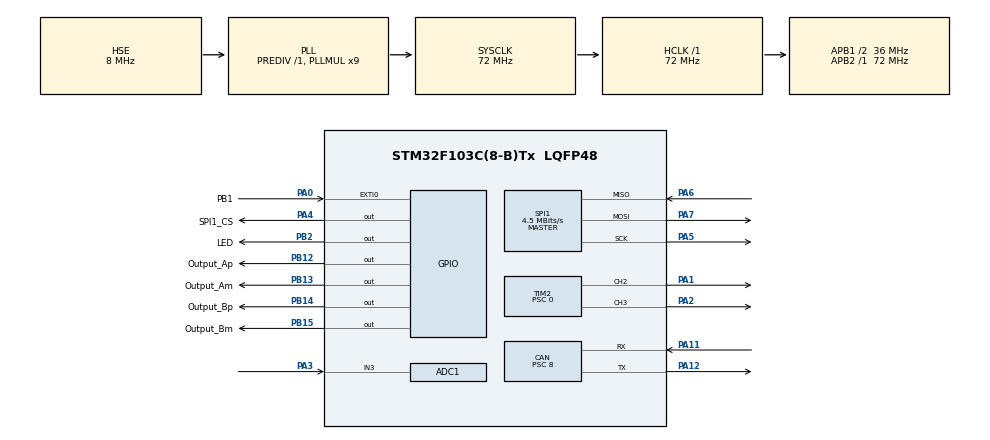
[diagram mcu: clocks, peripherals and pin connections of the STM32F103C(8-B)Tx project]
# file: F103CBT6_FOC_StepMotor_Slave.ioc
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ADC1.Channel-1\#ChannelRegularConversion=ADC_CHANNEL_VREFINT
ADC1.Channel-2\#ChannelRegularConversion=ADC_CHANNEL_TEMPSENSOR
ADC1.Channel-3\#ChannelRegularConversion=ADC_CHANNEL_3
ADC1.ContinuousConvMode=DISABLE
ADC1.DiscontinuousConvMode=DISABLE
ADC1.EnableInjectedConversion=DISABLE
ADC1.NbrOfConversion=3
ADC1.NbrOfConversionFlag=1
ADC1.Rank-1\#ChannelRegularConversion=1
ADC1.Rank-2\#ChannelRegularConversion=2
ADC1.Rank-3\#ChannelRegularConversion=3
ADC1.SamplingTime-1\#ChannelRegularConversion=ADC_SAMPLETIME_239CYCLES_5
ADC1.SamplingTime-2\#ChannelRegularConversion=ADC_SAMPLETIME_239CYCLES_5
ADC1.SamplingTime-3\#ChannelRegularConversion=ADC_SAMPLETIME_239CYCLES_5
ADC1.master=1
CAN.AWUM=ENABLE
CAN.BS1=CAN_BS1_5TQ
CAN.BS2=CAN_BS2_3TQ
CAN.CalculateBaudRate=500000
CAN.CalculateTimeBit=2000
CAN.CalculateTimeQuantum=222.22222222222223
CAN.Prescaler=8
Dma.ADC1.0.Direction=DMA_PERIPH_TO_MEMORY
Dma.ADC1.0.Instance=DMA1_Channel1
Dma.ADC1.0.MemDataAlignment=DMA_MDATAALIGN_HALFWORD
Dma.ADC1.0.MemInc=DMA_MINC_ENABLE
Dma.ADC1.0.Mode=DMA_NORMAL
Dma.ADC1.0.PeriphDataAlignment=DMA_PDATAALIGN_HALFWORD
Dma.ADC1.0.PeriphInc=DMA_PINC_DISABLE
Dma.ADC1.0.Priority=DMA_PRIORITY_LOW
Dma.Request0=ADC1
Mcu.Family=STM32F1
Mcu.Name=STM32F103C(8-B)Tx
Mcu.Package=LQFP48
NVIC.ADC1_2_IRQn=true\:0\:0\:false\:false\:true\:true\:true\:true
NVIC.CAN1_SCE_IRQn=true\:0\:0\:false\:false\:true\:true\:true\:true
NVIC.DMA1_Channel1_IRQn=true\:0\:0\:false\:false\:true\:false\:true\:true
NVIC.PriorityGroup=NVIC_PRIORITYGROUP_4
NVIC.TIM2_IRQn=true\:0\:0\:false\:false\:true\:true\:true\:true
NVIC.TIM3_IRQn=true\:0\:0\:false\:false\:true\:true\:true\:true
NVIC.USB_LP_CAN1_RX0_IRQn=true\:0\:0\:false\:false\:true\:true\:true\:true
PA0-WKUP.GPIO_Label=PB1
PA0-WKUP.GPIO_PuPd=GPIO_PULLDOWN
PA0-WKUP.Signal=GPXTI0
PA1.Signal=S_TIM2_CH2
PA11.Mode=CAN_Activate
PA11.Signal=CAN_RX
PA12.Mode=CAN_Activate
PA12.Signal=CAN_TX
PA13.Mode=Serial_Wire
PA13.Signal=SYS_JTMS-SWDIO
PA14.Mode=Serial_Wire
PA14.Signal=SYS_JTCK-SWCLK
PA2.Signal=S_TIM2_CH3
PA3.Signal=ADCx_IN3
PA4.GPIO_Label=SPI1_CS
PA4.GPIO_Speed=GPIO_SPEED_FREQ_MEDIUM
PA4.PinState=GPIO_PIN_RESET
PA4.Signal=GPIO_Output
PA5.Mode=Full_Duplex_Master
PA5.Signal=SPI1_SCK
PA6.Mode=Full_Duplex_Master
PA6.Signal=SPI1_MISO
PA7.Mode=Full_Duplex_Master
PA7.Signal=SPI1_MOSI
PB12.GPIO_Label=Output_Ap
PB12.Signal=GPIO_Output
PB13.GPIO_Label=Output_Am
PB13.Signal=GPIO_Output
PB14.GPIO_Label=Output_Bp
PB14.Signal=GPIO_Output
PB15.GPIO_Label=Output_Bm
PB15.GPIO_Speed=GPIO_SPEED_FREQ_LOW
PB15.Signal=GPIO_Output
PB2.GPIO_Label=LED
PB2.Signal=GPIO_Output
PD0-OSC_IN.Mode=HSE-External-Oscillator
PD0-OSC_IN.Signal=RCC_OSC_IN
PD1-OSC_OUT.Mode=HSE-External-Oscillator
PD1-OSC_OUT.Signal=RCC_OSC_OUT
ProjectManager.HeapSize=0x200
ProjectManager.StackSize=0x400
ProjectManager.TargetToolchain=STM32CubeIDE
RCC.ADCPresc=RCC_ADCPCLK2_DIV6
RCC.AHBFreq_Value=72000000
RCC.APB1CLKDivider=RCC_HCLK_DIV2
RCC.APB1Freq_Value=36000000
RCC.APB1TimFreq_Value=72000000
RCC.APB2Freq_Value=72000000
RCC.APB2TimFreq_Value=72000000
RCC.HCLKFreq_Value=72000000
RCC.PLLMUL=RCC_PLL_MUL9
RCC.PLLSourceVirtual=RCC_PLLSOURCE_HSE
RCC.SYSCLKFreq_VALUE=72000000
RCC.SYSCLKSource=RCC_SYSCLKSOURCE_PLLCLK
RCC.USBFreq_Value=48000000
RCC.USBPrescaler=RCC_USBCLKSOURCE_PLL_DIV1_5
SH.ADCx_IN3.0=ADC1_IN3,IN3
SH.S_TIM2_CH2.0=TIM2_CH2,PWM Generation2 CH2
SH.S_TIM2_CH3.0=TIM2_CH3,PWM Generation3 CH3
SPI1.BaudRatePrescaler=SPI_BAUDRATEPRESCALER_16
SPI1.CLKPhase=SPI_PHASE_2EDGE
SPI1.CLKPolarity=SPI_POLARITY_HIGH
SPI1.CalculateBaudRate=4.5 MBits/s
SPI1.DataSize=SPI_DATASIZE_16BIT
SPI1.Direction=SPI_DIRECTION_2LINES
SPI1.Mode=SPI_MODE_MASTER
SPI1.VirtualType=VM_MASTER
TIM2.AutoReloadPreload=TIM_AUTORELOAD_PRELOAD_ENABLE
TIM2.Channel-PWM\ Generation2\ CH2=TIM_CHANNEL_2
TIM2.Channel-PWM\ Generation3\ CH3=TIM_CHANNEL_3
TIM2.CounterMode=TIM_COUNTERMODE_CENTERALIGNED1
TIM2.Period=4094
TIM2.Prescaler=0
TIM3.AutoReloadPreload=TIM_AUTORELOAD_PRELOAD_ENABLE
TIM3.Channel-PWM\ Generation1\ CH1=TIM_CHANNEL_1
TIM3.Period=359
TIM3.Prescaler=9
VP_ADC1_TempSens_Input.Mode=IN-TempSens
VP_ADC1_Vref_Input.Mode=IN-Vrefint
VP_TIM2_VS_ClockSourceINT.Mode=Internal
VP_TIM3_VS_ClockSourceINT.Mode=Internal
board=custom

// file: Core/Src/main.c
/* USER CODE BEGIN Header */
/**
  ******************************************************************************
  * @file           : main.c
  * @brief          : Main program body
  ******************************************************************************
  * @attention
  *
  * Copyright (c) 2026 STMicroelectronics.
  * All rights reserved.
  *
  * This software is licensed under terms that can be found in the LICENSE file
  * in the root directory of this software component.
  * If no LICENSE file comes with this software, it is provided AS-IS.
  *
  ******************************************************************************
  */
/* USER CODE END Header */
#include "main.h"
#include "adc.h"
#include "can.h"
#include "dma.h"
#include "spi.h"
#include "tim.h"
#include "gpio.h"

/* USER CODE BEGIN Includes */
#include <stdbool.h>
#include <stdlib.h>
#include <math.h>
#include "Driver_tb67h450.h"
#include "Encoder_mt6701.h"
#include "encoder_calib.h"
#include "board_config.h"
/* USER CODE END Includes */

/* USER CODE BEGIN PD */
#define MOTOR_ONE_CIRCLE_SUBDIVIDE_STEPS  51200   /* 100 steps x 256 micro-steps (must match CALIB_SUBDIVIDE_STEPS) */
#define CONTROL_FREQUENCY                 20000   /* Hz – must match TIM5 reload period */
#define SOFT_DIVIDE_NUM                   256     /* quarter-circle offset for 90-deg FOC lead */
/* USER CODE END PD */

/* USER CODE BEGIN PV */
/* Encoder raw reading */
volatile uint16_t angleData = 0;

/* Position tracking */
volatile int32_t realLapPosition = 0, realLapPositionLast = 0;
volatile int32_t realPosition    = 0, realPositionLast    = 0;

/* Velocity estimation (integer IIR) */
volatile int32_t estVelocityIntegral = 0, estVelocity = 0;

/* Lead-angle compensation -> estimated rotor position */
volatile int32_t estLeadPosition = 0, estPosition = 0;

/* Control set-points */
volatile int32_t goalVelocity = 0;   /* desired velocity [subdivisions/s], set from main loop */
volatile int32_t softVelocity = 0;   /* ramped velocity fed to PID */

/* FOC output */
volatile int32_t focCurrent = 0, focPosition = 0;

/* Motion-planner state (velocity ramp) */
volatile int32_t velocityIntegral = 0, trackVelocity = 0, goVelocity = 0;
volatile int32_t velocityAcc      = 0;   /* acceleration step [subdivisions/s per tick] */
volatile int32_t ratedVelocity    = 0;   /* maximum velocity  [subdivisions/s]           */
uint16_t angleData_Calibrated = 0;

/* Driver debug symbols – declared extern in Driver_tb67h450.c */
int16_t SinMapValues_PhaseA_debug1 = 0, SinMapValues_PhaseB_debug1 = 0;
int16_t SinMapValues_PhaseA_debug2 = 0, SinMapValues_PhaseB_debug2 = 0;

/* PID controller state (velocity loop) */
volatile PID_t pid;

/* DCE controller state (position loop) – typedef in main.h */
volatile DCE_t dce;

volatile Mode_t requestMode  = MODE_COMMAND_VELOCITY;   /* set from main loop  */
volatile Mode_t runningMode  = MODE_COMMAND_VELOCITY;   /* currently active    */
volatile State_t StepperState = STATE_STOP;
volatile bool   softNewCurve = false;                   /* seed tracker on mode change */

/* Position set-points */
volatile int32_t goalPosition = 0;   /* desired position [subdivisions], set from main loop */
volatile int32_t softPosition = 0;   /* ramped position fed to DCE                          */

/* Current set-points (MODE_COMMAND_CURRENT) */
volatile int32_t goalCurrent = 0;    /* desired current [mA], set from main loop            */
volatile int32_t softCurrent = 0;    /* ramped current fed to FOC                           */

/* Current motion-planner state (current ramp) */
volatile int32_t currentIntegral = 0, trackCurrent = 0, goCurrent = 0;
volatile int32_t currentAcc      = 0;   /* current ramp step [mA/s]                          */
volatile int32_t ratedCurrentAcc = 1 * 1000;     /* (mA/s) */
volatile int32_t ratedCurrent    = 1 * 1000;     /* (mA)   */

/* Home reference */
volatile int32_t encoderHomeOffset = 0;   /* zero-position offset [subdivisions]             */

/* Position motion-planner state (trapezoidal position tracker) */
volatile int32_t posVelocityUpAcc      = 0, posVelocityDownAcc = 0;
volatile int32_t posSpeedLockingBrake  = 0;
float            posQuickVelocityDownAcc = 0.0f;
volatile int32_t posVelocityIntegral   = 0, posTrackVelocity = 0;
volatile int32_t posPositionIntegral   = 0, posTrackPosition = 0;
volatile int32_t posGoLocation         = 0, posGoVelocity    = 0;

uint16_t ADC_VAL[3];
float Vdda_mV = 0.0f, MCU_Temperature = 0.0f, NTC_Temperature = 0.0f;
volatile bool ADC_ConvertReady = false;

/* USER CODE END PV */

void SystemClock_Config(void);

/* USER CODE BEGIN 0 */

int32_t GetPosition ()
{
	return (realPosition - encoderHomeOffset);
}

int32_t GetVelocity ()
{
	return estVelocity;
}

int32_t GetFocCurrent ()
{
	return focCurrent;
}

/*
 * VelocityTracker_CalcVelocityIntegral
 * Integrates _velocity into trackVelocity using a sub-step accumulator so
 * fractional increments are preserved at 20 kHz.
 */
static void VelocityTracker_CalcVelocityIntegral(int32_t _velocity)
{
    velocityIntegral += _velocity;
    trackVelocity    += velocityIntegral / CONTROL_FREQUENCY;
    velocityIntegral  = velocityIntegral % CONTROL_FREQUENCY;
}

/*
 * VelocityTracker_CalcSoftGoal  (velocity ramp generator – MODE_COMMAND_VELOCITY)
 * Smoothly accelerates / decelerates trackVelocity toward _goalVelocity
 * using the configured velocityAcc step.
 */
static void VelocityTracker_CalcSoftGoal(int32_t _goalVelocity)
{
    int32_t deltaVelocity = _goalVelocity - trackVelocity;

    if (deltaVelocity == 0)
    {
        trackVelocity = _goalVelocity;
    }
    else if (deltaVelocity > 0)
    {
        if (trackVelocity >= 0)
        {
            VelocityTracker_CalcVelocityIntegral(velocityAcc);
            if (trackVelocity >= _goalVelocity)
            {
                velocityIntegral = 0;
                trackVelocity    = _goalVelocity;
            }
        }
        else
        {
            VelocityTracker_CalcVelocityIntegral(velocityAcc);
            if (trackVelocity >= 0)
            {
                velocityIntegral = 0;
                trackVelocity    = 0;
            }
        }
    }
    else   /* deltaVelocity < 0 */
    {
        if (trackVelocity <= 0)
        {
            VelocityTracker_CalcVelocityIntegral(-velocityAcc);
            if (trackVelocity <= _goalVelocity)
            {
                velocityIntegral = 0;
                trackVelocity    = _goalVelocity;
            }
        }
        else
        {
            VelocityTracker_CalcVelocityIntegral(-velocityAcc);
            if (trackVelocity <= 0)
            {
                velocityIntegral = 0;
                trackVelocity    = 0;
            }
        }
    }

    goVelocity = trackVelocity;
}

/*
 * CompensateAdvancedAngle
 * Returns an advance offset in subdivisions to compensate rotor phase lag
 * at speed. Coefficients from the DPS-encoder reference design; re-measure
 * when changing sensor type.
 */
static int32_t CompensateAdvancedAngle(int32_t _vel)
{
    int32_t compensate;

    if (_vel < 0)
    {
        if      (_vel > -100000)  compensate = 0;
        else if (_vel > -1300000) compensate = (((_vel + 100000)  * 262) >> 20);
        else if (_vel > -2200000) compensate = (((_vel + 1300000) * 105) >> 20) - 300;
        else                      compensate = (((_vel + 2200000) *  52) >> 20) - 390;

        if (compensate < -430) compensate = -430;
    }
    else
    {
        if      (_vel < 100000)  compensate = 0;
        else if (_vel < 1300000) compensate = (((_vel - 100000)  * 262) >> 20);
        else if (_vel < 2200000) compensate = (((_vel - 1300000) * 105) >> 20) + 300;
        else                     compensate = (((_vel - 2200000) *  52) >> 20) + 390;

        if (compensate > 430) compensate = 430;
    }

    return compensate;
}

/*
 * CalcCurrentToOutput
 * Maps the desired current magnitude to a FOC vector 90 deg ahead (positive
 * current) or behind (negative current) the estimated rotor position, then
 * drives the TB67H450 via SetFocCurrentVector.
 */
static void CalcCurrentToOutput(int32_t current)
{
    focCurrent = current;

    if      (focCurrent > 0) focPosition = estPosition + SOFT_DIVIDE_NUM;  /* lead  90 deg */
    else if (focCurrent < 0) focPosition = estPosition - SOFT_DIVIDE_NUM;  /* lag   90 deg */
    else                     focPosition = estPosition;

    SetFocCurrentVector((uint32_t)focPosition, focCurrent);
}

/*
 * Current-tracker sub-step accumulator (preserves fractional increments at 20 kHz).
 */
static void CurrentTracker_CalcCurrentIntegral(int32_t _current)
{
    currentIntegral += _current;
    trackCurrent    += currentIntegral / CONTROL_FREQUENCY;
    currentIntegral  = currentIntegral % CONTROL_FREQUENCY;
}

/*
 * CurrentTracker_SetCurrentAcc
 * Sets the current ramp step [mA/s] used by the MODE_COMMAND_CURRENT planner.
 * Only use in Init phase
 */
static void CurrentTracker_SetCurrentAcc(int32_t _currentAcc)
{
    currentAcc = _currentAcc;
}

/*
 * CurrentTracker_NewTask
 * Seeds the tracker from the present FOC current so the ramp starts smoothly
 * (called when entering current mode).
 */
static void CurrentTracker_NewTask(int32_t _realCurrent)
{
    currentIntegral = 0;
    trackCurrent    = _realCurrent;
}

/*
 * CurrentTracker_CalcSoftGoal  (current ramp generator – MODE_COMMAND_CURRENT)
 * Smoothly ramps trackCurrent toward _goalCurrent using currentAcc.
 * Direct port of the Ctrl-Step-Driver CurrentTracker::CalcSoftGoal().
 */
static void CurrentTracker_CalcSoftGoal(int32_t _goalCurrent)
{
    int32_t deltaCurrent = _goalCurrent - trackCurrent;

    if (deltaCurrent == 0)
    {
        trackCurrent = _goalCurrent;
    }
    else if (deltaCurrent > 0)
    {
        if (trackCurrent >= 0)
        {
            CurrentTracker_CalcCurrentIntegral(currentAcc);
            if (trackCurrent >= _goalCurrent)
            {
                currentIntegral = 0;
                trackCurrent    = _goalCurrent;
            }
        }
        else
        {
            CurrentTracker_CalcCurrentIntegral(currentAcc);
            if (trackCurrent >= 0)
            {
                currentIntegral = 0;
                trackCurrent    = 0;
            }
        }
    }
    else   /* deltaCurrent < 0 */
    {
        if (trackCurrent <= 0)
        {
            CurrentTracker_CalcCurrentIntegral(-currentAcc);
            if (trackCurrent <= _goalCurrent)
            {
                currentIntegral = 0;
                trackCurrent    = _goalCurrent;
            }
        }
        else
        {
            CurrentTracker_CalcCurrentIntegral(-currentAcc);
            if (trackCurrent <= 0)
            {
                currentIntegral = 0;
                trackCurrent    = 0;
            }
        }
    }

    goCurrent = trackCurrent;
}

/*
 * SetCurrentSetPoint
 * Sets the target current [mA] for MODE_COMMAND_CURRENT, clamped to the rated
 * current. Mirrors the Ctrl-Step-Driver Controller::SetCurrentSetPoint().
 */
void SetCurrentSetPoint(int32_t _cur)
{
    if      (_cur >  ratedCurrent) goalCurrent =  ratedCurrent;
    else if (_cur < -ratedCurrent) goalCurrent = -ratedCurrent;
    else                               goalCurrent = _cur;
}

/*
 * SetVelocitySetPoint
 * Sets the target velocity [subdivisions/s] for MODE_COMMAND_VELOCITY, clamped
 * to the working ratedVelocity. Mirrors Controller::SetVelocitySetPoint().
 */
void SetVelocitySetPoint(int32_t _vel)
{
    if      (_vel >  ratedVelocity) goalVelocity =  ratedVelocity;
    else if (_vel < -ratedVelocity) goalVelocity = -ratedVelocity;
    else                            goalVelocity = _vel;
}

/*
 * SetPositionSetPoint
 * Sets the target position [subdivisions] for MODE_COMMAND_POSITION, referenced
 * to the encoder home offset. Mirrors Controller::SetPositionSetPoint().
 */
void SetPositionSetPoint(int32_t _pos)
{
    goalPosition = _pos + encoderHomeOffset;
}

/*
 * SetPositionSetPointWithTime
 * Sets a target position to be reached in approximately _time seconds by
 * computing the cruise velocity of a trapezoidal profile with the configured
 * acceleration (velocityAcc). If the move cannot complete within _time at the
 * velocity limit, it clamps to boardConfig.velocityLimit and returns false; otherwise it
 * derives the required cruise velocity and returns true.
 * Direct port of Controller::SetPositionSetPointWithTime().
 */
bool SetPositionSetPointWithTime(int32_t _pos, float _time)
{
    int32_t deltaPos = abs(_pos - realPosition + encoderHomeOffset);

    /* Max distance reachable within _time under a full accel/decel triangle. */
    float pMax = (float)velocityAcc * _time * _time / 4.0f;

    if ((float)deltaPos > pMax)
    {
        /* Not reachable in time: run at the velocity limit. */
        ratedVelocity = boardConfig.velocityLimit;
        SetPositionSetPoint(_pos);
        return false;
    }
    else
    {
        /* Solve trapezoidal profile for the cruise velocity that hits the
         * target in exactly _time seconds. */
        float vMax = _time * (float)velocityAcc;
        vMax -= (float)velocityAcc *
                sqrtf(_time * _time - 4.0f * (float)deltaPos / (float)velocityAcc);
        vMax /= 2.0f;

        ratedVelocity = (int32_t)vMax;
        SetPositionSetPoint(_pos);
        return true;
    }
}

/*
 * CalcPidToOutput  (velocity PID – MODE_PWM_VELOCITY)
 * Computes PID output from the error between softVelocity and estVelocity,
 * then calls CalcCurrentToOutput to drive the FOC vector.
 */
static void CalcPidToOutput(int32_t _speed)
{
    pid.vErrorLast = pid.vError;
    pid.vError     = _speed - estVelocity;
    if (pid.vError >  (1024 * 1024)) pid.vError =  (1024 * 1024);
    if (pid.vError < -(1024 * 1024)) pid.vError = -(1024 * 1024);

    pid.outputKp = pid.kp * pid.vError;

    pid.integralRound    += pid.ki * pid.vError;
    pid.integralRemainder = pid.integralRound >> 10;
    pid.integralRound    -= (pid.integralRemainder << 10);
    pid.outputKi         += pid.integralRemainder;
    if (pid.outputKi >  (ratedCurrent << 10)) pid.outputKi =  (ratedCurrent << 10);
    if (pid.outputKi < -(ratedCurrent << 10)) pid.outputKi = -(ratedCurrent << 10);

    pid.outputKd = pid.kd * (pid.vError - pid.vErrorLast);

    pid.output = (pid.outputKp + pid.outputKi + pid.outputKd) >> 10;
    if (pid.output >  ratedCurrent) pid.output =  ratedCurrent;
    if (pid.output < -ratedCurrent) pid.output = -ratedCurrent;

    CalcCurrentToOutput(pid.output);
}

/*
 * CalcDceToOutput  (position DCE controller – MODE_COMMAND_POSITION)
 * Dynamic Compensation Equation: combines a position error term (kp/ki) with
 * a velocity error term (kv/kd) to produce the FOC current command. Mirrors
 * the Ctrl-Step-Driver reference CalcDceToOutput().
 */
static void CalcDceToOutput(int32_t _location, int32_t _speed)
{
    dce.pError = _location - estPosition;
    if (dce.pError >  3200) dce.pError =  3200;   /* limit pError to 1/16 rev (51200/16) */
    if (dce.pError < -3200) dce.pError = -3200;

    dce.vError = (_speed - estVelocity) >> 7;
    if (dce.vError >  4000) dce.vError =  4000;
    if (dce.vError < -4000) dce.vError = -4000;

    dce.outputKp = dce.kp * dce.pError;

    dce.integralRound    += (dce.ki * dce.pError + dce.kv * dce.vError);
    dce.integralRemainder = dce.integralRound >> 7;
    dce.integralRound    -= (dce.integralRemainder << 7);
    dce.outputKi         += dce.integralRemainder;
    if (dce.outputKi >  (ratedCurrent << 10)) dce.outputKi =  (ratedCurrent << 10);
    if (dce.outputKi < -(ratedCurrent << 10)) dce.outputKi = -(ratedCurrent << 10);

    dce.outputKd = dce.kd * dce.vError;

    dce.output = (dce.outputKp + dce.outputKi + dce.outputKd) >> 10;
    if (dce.output >  ratedCurrent) dce.output =  ratedCurrent;
    if (dce.output < -ratedCurrent) dce.output = -ratedCurrent;

    CalcCurrentToOutput(dce.output);
}

/*
 * Position-tracker sub-step accumulators (preserve fractional increments at 20 kHz).
 */
static void PosTracker_CalcPositionIntegral(int32_t _value)
{
    posPositionIntegral += _value;
    posTrackPosition    += posPositionIntegral / CONTROL_FREQUENCY;
    posPositionIntegral  = posPositionIntegral % CONTROL_FREQUENCY;
}

static void PosTracker_CalcVelocityIntegral(int32_t _value)
{
    posVelocityIntegral += _value;
    posTrackVelocity    += posVelocityIntegral / CONTROL_FREQUENCY;
    posVelocityIntegral  = posVelocityIntegral % CONTROL_FREQUENCY;
}

/*
 * PosTracker_SetVelocityAcc
 * Sets the trapezoidal accel/decel step and the pre-computed factor used to
 * estimate the braking distance ( v^2 * 0.5/decel ).
 */
static void PosTracker_SetVelocityAcc(int32_t _value)
{
    posVelocityUpAcc        = _value;
    posVelocityDownAcc      = _value;
    posQuickVelocityDownAcc = 0.5f / (float)posVelocityDownAcc;
}

/*
 * PosTracker_NewTask
 * Seeds the tracker from the current estimated position/velocity so the
 * trajectory starts smoothly (called when entering position mode).
 */
static void PosTracker_NewTask(int32_t _realLocation, int32_t _realSpeed)
{
    posVelocityIntegral = 0;
    posTrackVelocity    = _realSpeed;
    posPositionIntegral = 0;
    posTrackPosition    = _realLocation;
}

/*
 * PosTracker_CalcSoftGoal  (trapezoidal position planner – MODE_COMMAND_POSITION)
 * Generates a smooth position/velocity profile toward _goalPosition, ramping
 * velocity up to ratedVelocity and braking in time to stop on target.
 * Direct port of the Ctrl-Step-Driver PositionTracker::CalcSoftGoal().
 */
static void PosTracker_CalcSoftGoal(int32_t _goalPosition)
{
    int32_t deltaPosition = _goalPosition - posTrackPosition;

    if (deltaPosition == 0)
    {
        if ((posTrackVelocity >= -posSpeedLockingBrake) &&
            (posTrackVelocity <=  posSpeedLockingBrake))
        {
            posVelocityIntegral = 0;
            posTrackVelocity    = 0;
            posPositionIntegral = 0;
        }
        else if (posTrackVelocity > 0)
        {
            PosTracker_CalcVelocityIntegral(-posVelocityDownAcc);
            if (posTrackVelocity <= 0)
            {
                posVelocityIntegral = 0;
                posTrackVelocity    = 0;
            }
        }
        else if (posTrackVelocity < 0)
        {
            PosTracker_CalcVelocityIntegral(posVelocityDownAcc);
            if (posTrackVelocity >= 0)
            {
                posVelocityIntegral = 0;
                posTrackVelocity    = 0;
            }
        }
    }
    else
    {
        if (posTrackVelocity == 0)
        {
            if (deltaPosition > 0)
                PosTracker_CalcVelocityIntegral(posVelocityUpAcc);
            else
                PosTracker_CalcVelocityIntegral(-posVelocityUpAcc);
        }
        else if ((deltaPosition > 0) && (posTrackVelocity > 0))
        {
            if (posTrackVelocity <= ratedVelocity)
            {
                int32_t need_down_location = (int32_t)((float)posTrackVelocity *
                                                       (float)posTrackVelocity *
                                                       posQuickVelocityDownAcc);
                if (abs(deltaPosition) > need_down_location)
                {
                    if (posTrackVelocity < ratedVelocity)
                    {
                        PosTracker_CalcVelocityIntegral(posVelocityUpAcc);
                        if (posTrackVelocity >= ratedVelocity)
                        {
                            posVelocityIntegral = 0;
                            posTrackVelocity    = ratedVelocity;
                        }
                    }
                    else if (posTrackVelocity > ratedVelocity)
                    {
                        PosTracker_CalcVelocityIntegral(-posVelocityDownAcc);
                    }
                }
                else
                {
                    PosTracker_CalcVelocityIntegral(-posVelocityDownAcc);
                    if (posTrackVelocity <= 0)
                    {
                        posVelocityIntegral = 0;
                        posTrackVelocity    = 0;
                    }
                }
            }
            else
            {
                PosTracker_CalcVelocityIntegral(-posVelocityDownAcc);
                if (posTrackVelocity <= 0)
                {
                    posVelocityIntegral = 0;
                    posTrackVelocity    = 0;
                }
            }
        }
        else if ((deltaPosition < 0) && (posTrackVelocity < 0))
        {
            if (posTrackVelocity >= -ratedVelocity)
            {
                int32_t need_down_location = (int32_t)((float)posTrackVelocity *
                                                       (float)posTrackVelocity *
                                                       posQuickVelocityDownAcc);
                if (abs(deltaPosition) > need_down_location)
                {
                    if (posTrackVelocity > -ratedVelocity)
                    {
                        PosTracker_CalcVelocityIntegral(-posVelocityUpAcc);
                        if (posTrackVelocity <= -ratedVelocity)
                        {
                            posVelocityIntegral = 0;
                            posTrackVelocity    = -ratedVelocity;
                        }
                    }
                    else if (posTrackVelocity < -ratedVelocity)
                    {
                        PosTracker_CalcVelocityIntegral(posVelocityDownAcc);
                    }
                }
                else
                {
                    PosTracker_CalcVelocityIntegral(posVelocityDownAcc);
                    if (posTrackVelocity >= 0)
                    {
                        posVelocityIntegral = 0;
                        posTrackVelocity    = 0;
                    }
                }
            }
            else
            {
                PosTracker_CalcVelocityIntegral(posVelocityDownAcc);
                if (posTrackVelocity >= 0)
                {
                    posVelocityIntegral = 0;
                    posTrackVelocity    = 0;
                }
            }
        }
        else if ((deltaPosition < 0) && (posTrackVelocity > 0))
        {
            PosTracker_CalcVelocityIntegral(-posVelocityDownAcc);
            if (posTrackVelocity <= 0)
            {
                posVelocityIntegral = 0;
                posTrackVelocity    = 0;
            }
        }
        else if ((deltaPosition > 0) && (posTrackVelocity < 0))
        {
            PosTracker_CalcVelocityIntegral(posVelocityDownAcc);
            if (posTrackVelocity >= 0)
            {
                posVelocityIntegral = 0;
                posTrackVelocity    = 0;
            }
        }
    }

    PosTracker_CalcPositionIntegral(posTrackVelocity);

    posGoLocation = posTrackPosition;
    posGoVelocity = posTrackVelocity;
}

/*
 * HAL callback: 20 kHz timer interrupt – main FOC control tick.
 * Implements the MODE_PWM_VELOCITY path from the Ctrl-Step-Driver reference:
 *   1. Read encoder
 *   2. First-call position seed
 *   3. Wrap-around lap position update
 *   4. Multi-turn (naive) position accumulation
 *   5. Integer IIR velocity estimation
 *   6. Lead-angle compensation -> estimated position
 *   7. Velocity PID -> FOC current vector
 *   8. Soft-goal (trapezoidal ramp) update for next tick
 */
void HAL_TIM_PeriodElapsedCallback(TIM_HandleTypeDef *htim)
{
    if (htim->Instance == TIM3)
    {
        /* Encoder calibration takes over the control loop when active */
        if (Calib_IsRunning())
        {
            Calib_Tick20kHz();
            return;
        }

//    	SetFocCurrentVector(a, b);

        /* 1. Read encoder */
        angleData = GetAngle();
        angleData_Calibrated = Calib_GetCalibratedAngleLUT(angleData); /* rectified position via calib table */

        /* 2. First-call initialisation – seed position tracking */
        static bool isFirstCalled = true;
        if (isFirstCalled)
        {
            isFirstCalled       = false;
            realLapPosition     = (int32_t)angleData_Calibrated;
            realLapPositionLast = (int32_t)angleData_Calibrated;
            realPosition        = (int32_t)angleData_Calibrated;
            realPositionLast    = (int32_t)angleData_Calibrated;
            return;
        }

        /* 3. Update lap position with wrap-around handling */
        realLapPositionLast = realLapPosition;
        realLapPosition     = (int32_t)angleData_Calibrated;

        int32_t deltaLapPosition = realLapPosition - realLapPositionLast;
        if (deltaLapPosition >  (MOTOR_ONE_CIRCLE_SUBDIVIDE_STEPS >> 1))
            deltaLapPosition -= MOTOR_ONE_CIRCLE_SUBDIVIDE_STEPS;
        else if (deltaLapPosition < -(MOTOR_ONE_CIRCLE_SUBDIVIDE_STEPS >> 1))
            deltaLapPosition += MOTOR_ONE_CIRCLE_SUBDIVIDE_STEPS;

        /* 4. Accumulate multi-turn (naive) position */
        realPositionLast = realPosition;
        realPosition    += deltaLapPosition;

        /*
         * 5. Estimate velocity – integer IIR low-pass filter
         *    accumulator += deltaPos * Fs  +  estVelocity * 31
         *    estVelocity  = accumulator >> 5  (divide by 32)
         *    Remainder kept in accumulator to preserve sub-unit precision.
         */
        estVelocityIntegral += (realPosition - realPositionLast) * CONTROL_FREQUENCY
                               + ((estVelocity << 5) - estVelocity);
        estVelocity          = estVelocityIntegral >> 5;
        estVelocityIntegral -= (estVelocity << 5);

        /* 6. Lead-angle compensation -> estimated rotor position */
        estLeadPosition = CompensateAdvancedAngle(estVelocity);
        estPosition     = realPosition + estLeadPosition;

        /* 7. Run the active mode's controller -> FOC current vector */
        switch (runningMode)
        {
            case MODE_COMMAND_VELOCITY:
                CalcPidToOutput(softVelocity);
                break;
            case MODE_COMMAND_POSITION:
                CalcDceToOutput(softPosition, softVelocity);
                break;
            case MODE_COMMAND_CURRENT:
                CalcCurrentToOutput(softCurrent);
                break;
            default:
                break;
        }

        /* 8. Mode-change handling: seed the tracker on the first tick of a new mode */
        if (runningMode != requestMode)
        {
            runningMode  = requestMode;
            softNewCurve = true;
        }
        if (softNewCurve)
        {
            softNewCurve = false;
            switch (runningMode)
            {
                case MODE_COMMAND_VELOCITY:
                    velocityIntegral = 0;
                    trackVelocity    = estVelocity;
                    break;
                case MODE_COMMAND_POSITION:
                    PosTracker_NewTask(estPosition, estVelocity);
                    break;
                case MODE_COMMAND_CURRENT:
                    CurrentTracker_NewTask(focCurrent);
                    break;
                default:
                    break;
            }
        }

        /* 9. Advance the soft goal (trajectory generator) for the next tick */
        switch (runningMode)
        {
            case MODE_COMMAND_VELOCITY:
            {
                int32_t clampedVel = goalVelocity;
                if (clampedVel >  ratedVelocity) clampedVel =  ratedVelocity; // Remove clamping later, claper alreary clamp in SetVelocitySetPoint
                if (clampedVel < -ratedVelocity) clampedVel = -ratedVelocity;
                VelocityTracker_CalcSoftGoal(clampedVel);
                softVelocity = goVelocity;
                break;
            }
            case MODE_COMMAND_POSITION:
                PosTracker_CalcSoftGoal(goalPosition);
                softPosition = posGoLocation;
                softVelocity = posGoVelocity;
                break;
            case MODE_COMMAND_CURRENT:
            {
                int32_t clampedCur = goalCurrent;
                if (clampedCur >  ratedCurrent) clampedCur =  ratedCurrent; // Remove clamping later, claper alreary clamp in SetCurrentSetPoint
                if (clampedCur < -ratedCurrent) clampedCur = -ratedCurrent;
                CurrentTracker_CalcSoftGoal(clampedCur);
                softCurrent = goCurrent;
                break;
            }
            default:
                break;
        }

        /******************************** Update State ********************************/
        if (runningMode == MODE_COMMAND_POSITION)
		{
			if ((softPosition == goalPosition)
				&& (softVelocity == 0))
				StepperState = STATE_FINISH;
			else
				StepperState = STATE_RUNNING;
		} else if (runningMode == MODE_COMMAND_VELOCITY)
		{
			if (softVelocity == goalVelocity)
				StepperState = STATE_FINISH;
			else
				StepperState = STATE_RUNNING;
		} else if (runningMode == MODE_COMMAND_CURRENT)
		{
			if (softCurrent == goalCurrent)
				StepperState = STATE_FINISH;
			else
				StepperState = STATE_RUNNING;
		} else
		{
			StepperState = STATE_FINISH;
		}
    }
}

void CAN_SetVelocitySetPoint(uint8_t _val)
{
	uint8_t canBuf[8];
    uint8_t mode = 0x04;
	TxHeader.StdId = 1 << 7 | mode;

	canBuf[0] = _val;

    CAN_Send(&TxHeader, canBuf);
}

void HAL_ADC_ConvCpltCallback(ADC_HandleTypeDef *hadc)
{
	if(hadc->Instance == ADC1)
	{
		ADC_ConvertReady = true;
	}
}

/* USER CODE END 0 */

int main(void)
{

  /* MCU Configuration--------------------------------------------------------*/

  /* Reset of all peripherals, Initializes the Flash interface and the Systick. */
  HAL_Init();

  /* Configure the system clock */
  SystemClock_Config();

  /* Initialize all configured peripherals */
  MX_GPIO_Init();
  MX_DMA_Init();
  MX_CAN_Init();
  MX_TIM2_Init();
  MX_TIM3_Init();
  MX_SPI1_Init();
  MX_ADC1_Init();
  /* USER CODE BEGIN 2 */
  HAL_TIM_PWM_Start(&htim2, TIM_CHANNEL_2);
  HAL_TIM_PWM_Start(&htim2, TIM_CHANNEL_3);
  HAL_TIM_Base_Start_IT(&htim3);
  HAL_ADC_Start_DMA(&hadc1, (uint32_t*)ADC_VAL, 3);

//  /*---------- Load BoardConfig from flash ----------*/
  if (!BoardConfig_Load())
  {
    /* No valid config in flash – write defaults */
    BoardConfig_SetDefaults();
  }

  /* Apply rated parameter (limit) */
  velocityAcc   = boardConfig.velocityAcc;
  ratedCurrent = boardConfig.currentLimit;
  ratedVelocity = boardConfig.velocityLimit;

  /* Apply PID gains from boardConfig */
  pid.kp = boardConfig.pid_kp;
  pid.ki = boardConfig.pid_ki;
  pid.kd = boardConfig.pid_kd;

  /* Apply DCE gains from boardConfig */
  dce.kp = boardConfig.dce_kp;
  dce.kv = boardConfig.dce_kv;
  dce.ki = boardConfig.dce_ki;
  dce.kd = boardConfig.dce_kd;

  /* Start encoder calibration. calibTablePtr will point to flash
   * once calibState == CALIB_DONE (checked in the main loop).
   * If valid calibration data exists in flash, use it directly
   * instead of re-running the calibration sequence. */
  if (Calib_LoadFromFlash())
  {
    /* Calibration table loaded from flash – skip motor calibration */
  }
  else
  {
    /* No valid flash data – run full calibration sequence */
    calibState = CALIB_START;
  }

  /* Position tracker: accel/decel step and locking-brake threshold */
  PosTracker_SetVelocityAcc(velocityAcc);
  CurrentTracker_SetCurrentAcc(ratedCurrentAcc);
  posSpeedLockingBrake = velocityAcc / 1000;

  /* USER CODE END 2 */

  /* Infinite loop */
  while (1)
  {

    /* USER CODE BEGIN 3 */
    /* Run calibration calculation (no-op after CALIB_DONE) */
    Calib_TickMainLoop();

    /* Handle config write-back requests */
    if (boardConfig.configStatus == CONFIG_COMMIT)
    {
      boardConfig.configStatus = CONFIG_OK;
      BoardConfig_Save();
      HAL_Delay(10);
      HAL_NVIC_SystemReset();
    }
    else if (boardConfig.configStatus == CONFIG_RESTORE) // Retore the flash config - which wasn't saved to flash yet (Not yet CONFIG_COMMIT)
    {
      if (BoardConfig_Load() == false) {BoardConfig_SetDefaults();}
      HAL_NVIC_SystemReset();
    }
    else if (boardConfig.configStatus == CONFIG_DEFAULT) // Force write the default config to flash.
    {
      BoardConfig_SetDefaults();
      HAL_NVIC_SystemReset();
    }
    /* Normal motion control starts once calibration is complete */

    // Context: ADC convert too fast, its stuck in callback function, already change to DMA normal mode,
    // but seem like them convert unstable 3 ADC converter. Need check further DMA flow
    if(ADC_ConvertReady == true)
    {
    	ADC_ConvertReady = false;
    	HAL_ADC_Stop_DMA(&hadc1); // F103 DMA normal mode, need stop DMA before restart.

    	Vdda_mV = (1200.0f * 4095.0f) / (float)ADC_VAL[0]; 	// estimate Vdda_Vref
		float Vsense = (float)ADC_VAL[1] * Vdda_mV / 4095; // Vsense of ADC temperature

		MCU_Temperature = 25 + ((1430 - Vsense)/4.3);

    	NTC_Temperature = NTC_GetTemperature(ADC_VAL[2]);
    	HAL_ADC_Start_DMA(&hadc1, (uint32_t*)ADC_VAL, 3);
    }

    HAL_Delay(1);
  }
  /* USER CODE END 3 */
}

void SystemClock_Config(void)
{
  RCC_OscInitTypeDef RCC_OscInitStruct = {0};
  RCC_ClkInitTypeDef RCC_ClkInitStruct = {0};
  RCC_PeriphCLKInitTypeDef PeriphClkInit = {0};

  /** Initializes the RCC Oscillators according to the specified parameters
  * in the RCC_OscInitTypeDef structure.
  */
  RCC_OscInitStruct.OscillatorType = RCC_OSCILLATORTYPE_HSE;
  RCC_OscInitStruct.HSEState = RCC_HSE_ON;
  RCC_OscInitStruct.HSEPredivValue = RCC_HSE_PREDIV_DIV1;
  RCC_OscInitStruct.HSIState = RCC_HSI_ON;
  RCC_OscInitStruct.PLL.PLLState = RCC_PLL_ON;
  RCC_OscInitStruct.PLL.PLLSource = RCC_PLLSOURCE_HSE;
  RCC_OscInitStruct.PLL.PLLMUL = RCC_PLL_MUL9;
  if (HAL_RCC_OscConfig(&RCC_OscInitStruct) != HAL_OK)
  {
    Error_Handler();
  }

  /** Initializes the CPU, AHB and APB buses clocks
  */
  RCC_ClkInitStruct.ClockType = RCC_CLOCKTYPE_HCLK|RCC_CLOCKTYPE_SYSCLK
                              |RCC_CLOCKTYPE_PCLK1|RCC_CLOCKTYPE_PCLK2;
  RCC_ClkInitStruct.SYSCLKSource = RCC_SYSCLKSOURCE_PLLCLK;
  RCC_ClkInitStruct.AHBCLKDivider = RCC_SYSCLK_DIV1;
  RCC_ClkInitStruct.APB1CLKDivider = RCC_HCLK_DIV2;
  RCC_ClkInitStruct.APB2CLKDivider = RCC_HCLK_DIV1;

  if (HAL_RCC_ClockConfig(&RCC_ClkInitStruct, FLASH_LATENCY_2) != HAL_OK)
  {
    Error_Handler();
  }
  PeriphClkInit.PeriphClockSelection = RCC_PERIPHCLK_ADC;
  PeriphClkInit.AdcClockSelection = RCC_ADCPCLK2_DIV6;
  if (HAL_RCCEx_PeriphCLKConfig(&PeriphClkInit) != HAL_OK)
  {
    Error_Handler();
  }
}

void Error_Handler(void)
{
  __disable_irq();
  while (1)
  {
  }
}
